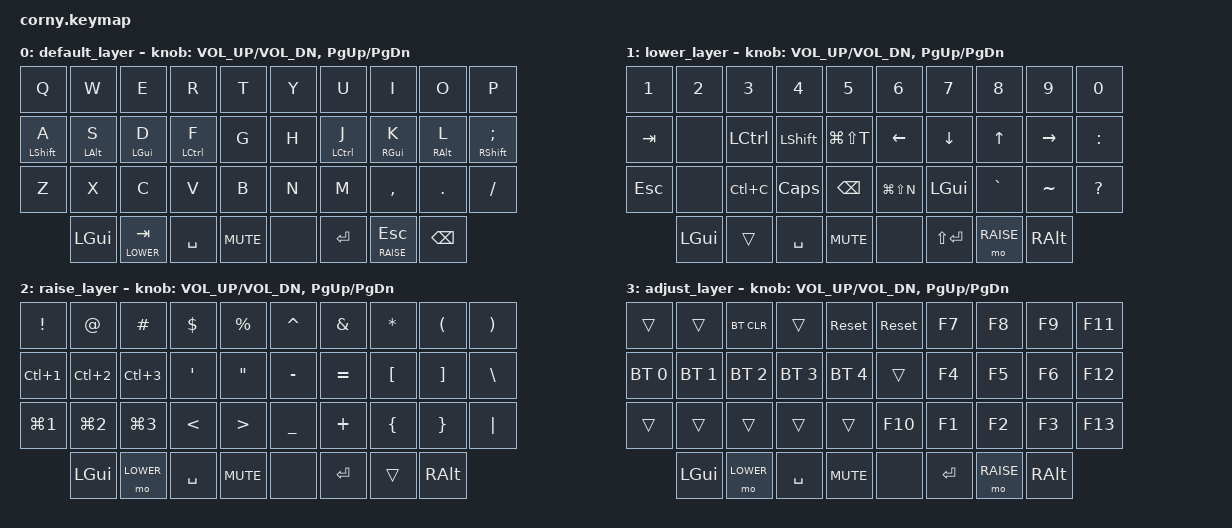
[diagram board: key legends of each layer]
#include <behaviors.dtsi>
#include <dt-bindings/zmk/keys.h>
#include <dt-bindings/zmk/bt.h>

#define BASE 0
#define LOWER 1
#define RAISE 2
#define ADJUST 3

/ {

    behaviors {
        bhm: balanced_homerow_mods {
            flavor = "balanced";
            compatible = "zmk,behavior-hold-tap";
            #binding-cells = <2>;
            tapping-term-ms = <280>;
            quick-tap-ms = <175>;
            require-prior-idle-ms = <150>;
            bindings = <&kp>, <&kp>;
        };
    };

   // Activate ADJUST layer by pressing raise and lower
    conditional_layers {
        compatible = "zmk,conditional-layers";
        adjust_layer {
            if-layers = <LOWER RAISE>;
            then-layer = <ADJUST>;
        };
    };
    keymap {
        compatible = "zmk,keymap";

        default_layer {
/* QWERTY
 *
 * ,----------------------------------.                      ,----------------------------------.
 * |   Q  |   W  |   E  |   R  |   T  |                      |   Y  |   U  |   I  |   O  |   P  |
 * |------+------+------+------+------|                      |------+------+------+------+------|
 * |   A  |   S  |   D  |   F  |   G  |                      |   H  |   J  |   K  |   L  |   ;  |
 * |------+------+------+------+------|  ,-----.    ,-----.  |------+------+------+------+------|
 * |   Z  |   X  |   C  |   V  |   B  |  |Mute |    |  -  |  |   N  |   M  |   ,  |   .  |   /  |
 * `----------------------------------'  `-----'    `-----'  `----------------------------------'
 *                    ,---------------------.            ,---------------------.
 *                    | GUI | LOWER | SPACE |            | ENTER | RAISE | ALT |
 *                    `---------------------'            `---------------------'
 */
            bindings = <
    &kp Q       &kp W       &kp E       &kp R       &kp T               &kp Y   &kp U       &kp I       &kp O       &kp P
    &bhm LSHIFT A  &bhm LALT S  &bhm LGUI D  &bhm LCTRL F  &kp G        &kp H   &bhm LCTRL J &bhm RGUI K &bhm RALT L &bhm RSHIFT SEMI
    &kp Z       &kp X       &kp C       &kp V       &kp B               &kp N   &kp M       &kp COMMA   &kp DOT     &kp FSLH
                &kp LGUI    &lt LOWER TAB   &kp SPC &kp C_MUTE          &none   &kp RET     &lt RAISE ESC   &kp BSPC
            >;

            sensor-bindings = <
                &inc_dec_kp C_VOL_UP C_VOL_DN
                &inc_dec_kp PAGE_UP PAGE_DOWN
            >;
        };

        lower_layer {
/* LOWER
 *
 * ,----------------------------------.                      ,----------------------------------.
 * |   1  |  2   |  3   |  4   |   5  |                      |   6  |   7  |   8  |   9  |   0  |
 * |------+------+------+------+------|                      |------+------+------+------+------|
 * | TAB  |      | LCTRL| SHIFT| C+S+T|                      | LEFT | DOWN |  UP  |RIGHT |  :   |
 * |------+------+------+------+------|  ,-----.    ,-----.  |------+------+------+------+------|
 * | ESC  |      |CTRL+C| CLCK | BSPC |  |Boot |    |  -  |  | C+S+N| LGUI |  `   |  ~   |  ?   |
 * `----------------------------------'  `-----'    `-----'  `----------------------------------'
 *                    ,---------------------.            ,---------------------.
 *                    | GUI | LOWER | SPACE |            | S+ENT | RAISE | ALT |
 *                    `---------------------'            `---------------------'
 */
            bindings = <
    &kp N1        &kp N2      &kp N3      &kp N4      &kp N5                       &kp N6      &kp N7     &kp N8      &kp N9      &kp N0
    &kp TAB       &none       &kp LCTRL   &kp LSHIFT  &kp LG(LS(T))                &kp LEFT    &kp DOWN   &kp UP      &kp RIGHT   &kp COLON
    &kp ESC       &none       &kp LC(C)   &kp CLCK    &kp BSPC                     &kp LG(LS(N)) &kp LGUI      &kp GRAVE   &kp TILDE   &kp QMARK
                  &kp LGUI    &trans      &kp SPC     &kp C_MUTE           &none   &kp LS(RET)     &mo RAISE  &kp RALT
            >;

            sensor-bindings = <
                &inc_dec_kp C_VOL_UP C_VOL_DN
                &inc_dec_kp PAGE_UP PAGE_DOWN
            >;
        };

        raise_layer {
/* RAISE
 *
 * ,----------------------------------.                      ,----------------------------------.
 * |   !  |   @  |   #  |   $  |   %  |                      |   ^  |  &   |   *  |  (   |   )  |
 * |------+------+------+------+------|                      |------+------+------+------+------|
 * |  W1  |  W2  |  W3  |   '  |   "  |                      |   -  |   =  |   [  |   ]  |   \  |
 * |------+------+------+------+------|  ,-----.    ,-----.  |------+------+------+------+------|
 * |  T1  |  T2  |  T3  |   <  |   >  |  |  -  |    |Boot |  |   _  |   +  |   {   |  }  |  |   |
 * `----------------------------------'  `-----'    `-----'  `----------------------------------'
 *                    ,---------------------.            ,---------------------.
 *                    | GUI | LOWER | SPACE |            | ENTER | RAISE | ALT |
 *                    `---------------------'            `---------------------'
 */
            bindings = <
    &kp EXCL       &kp AT      &kp HASH    &kp DLLR    &kp PRCNT                &kp CARET       &kp AMPS        &kp ASTRK           &kp LPAR    &kp RPAR
    &kp LC(N1)     &kp LC(N2)  &kp LC(N3)  &kp SQT     &kp DQT                  &kp MINUS       &kp EQUAL       &kp LBKT            &kp RBKT    &kp BSLH
    &kp LG(N1)     &kp LG(N2)  &kp LG(N3)  &kp LESS_THAN &kp GREATER_THAN       &kp UNDER       &kp PLUS        &kp LBRC            &kp RBRC    &kp PIPE
                   &kp LGUI    &mo LOWER   &kp SPC     &kp C_MUTE       &none   &kp RET         &trans          &kp RALT
            >;

            sensor-bindings = <
                &inc_dec_kp C_VOL_UP C_VOL_DN
                &inc_dec_kp PAGE_UP PAGE_DOWN
            >;
        };


        adjust_layer {
/* ADJUST
 *
 * ,----------------------------------.                      ,----------------------------------.
 * |      |      | BTCLR|      | Reset|                      | Reset|  F7  |  F8  |  F9  |  F11 |
 * |------+------+------+------+------|                      |------+------+------+------+------|
 * |  BT0 |  BT1 |  BT2 |  BT3 |  BT4 |                      |      |  F4  |  F5  |  F6  |  F12 |
 * |------+------+------+------+------|  ,-----.    ,-----.  |------+------+------+------+------|
 * |      |      |      |      |      |  |  -  |    |  -  |  |  F10 |  F1  |  F2  |  F3  |  F13 |
 * `----------------------------------'  `-----'    `-----'  `----------------------------------'
 *                    ,---------------------.            ,---------------------.
 *                    | GUI | LOWER | SPACE |            | ENTER | RAISE | ALT |
 *                    `---------------------'            `---------------------'
 */
            bindings = <
    &trans          &trans          &bt BT_CLR      &trans          &sys_reset          &sys_reset  &kp F7  &kp F8      &kp F9      &kp F11
    &bt BT_SEL 0    &bt BT_SEL 1    &bt BT_SEL 2    &bt BT_SEL 3    &bt BT_SEL 4        &trans      &kp F4  &kp F5      &kp F6      &kp F12
    &trans          &trans          &trans          &trans          &trans              &kp F10     &kp F1  &kp F2      &kp F3      &kp F13
                    &kp LGUI    &mo LOWER   &kp SPC     &kp C_MUTE          &none   &kp RET     &mo RAISE   &kp RALT
            >;

            sensor-bindings = <
                &inc_dec_kp C_VOL_UP C_VOL_DN
                &inc_dec_kp PAGE_UP PAGE_DOWN
            >;
        };

    };
};
